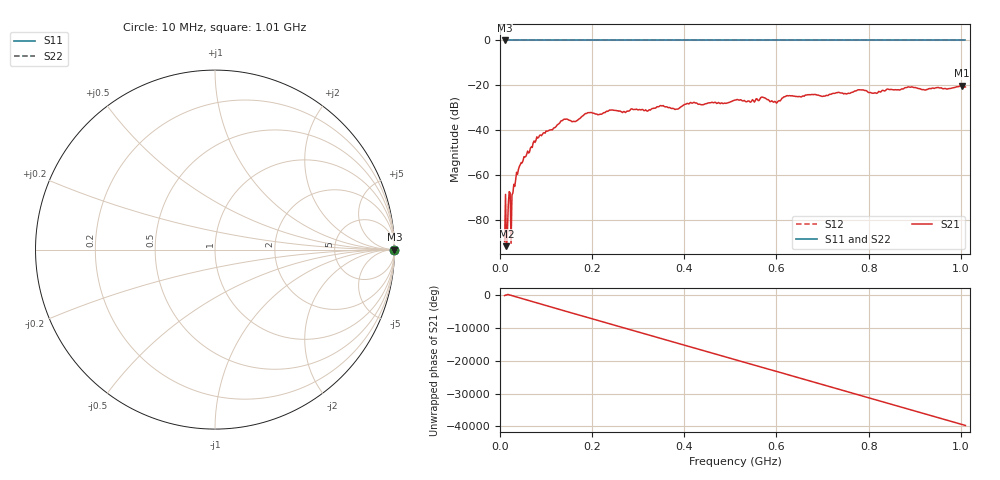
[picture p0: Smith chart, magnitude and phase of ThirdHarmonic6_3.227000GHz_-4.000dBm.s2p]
! 8/17/2025 9:52:03 AM
! C:\ANRITSUVNA\TEMP\TEMP.S2P
! CHANNEL.1
! TR.MEASUREMENT
! RAW.DATA
! RF.CORRECTION.OFF
! AVERAGING.OFF
! IF.BANDWIDTH: 5KHZ
! SWEEPTYPE:  FREQ.SWEEP(Linear)
! Reference Plane Port Info
! PORT:  PORT1  PORT2
! DISTANCE:  0  m  0  m
! TIME:  0  s  0  s
! PHASE.OFFSET:  0  deg.  0  deg.
! LOSS:  0  dB  0  dB
! REF.LOSS:  0  dB  0  dB
! REF.FREQ:  0  Hz  0  Hz
! Power Info
! POWER:  -20  dBm  -20  dBm
! EFF.POWER:  -20  dBm  -20  dBm
! SOURCE.ATTEN:  0  dB  0  dB
! TEST.ATTEN:  0  dB  0  dB
# GHZ S RI R 50.0
! FREQ.GHZ  S11RE  S11IM  S21RE  S21IM  S12RE  S12IM  S22RE  S22IM
!; PortSelection: Port_12
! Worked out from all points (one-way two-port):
!   501 points, 10 MHz to 1.01 GHz, reference 50 ohm
!   highest |S21| = -20.15 dB at 1.002 GHz (marker M1); lowest = -91.8 dB at 14 MHz (marker M2)
!   lowest |S11| = 0.0 dB at 10 MHz (marker M3)
!   |S11| at or under -10 dB: nowhere
!   |S22| runs from 0.0 to 0.0 dB; largest |S21 - S12| = 1.1
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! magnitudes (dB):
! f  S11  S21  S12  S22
! 10 MHz  0.0  -89.7  0.0  0.0
! 14 MHz  0.0  -91.8  0.0  0.0
! 16 MHz  0.0  -85.8  0.0  0.0
! 20 MHz  0.0  -67.5  0.0  0.0
! 28 MHz  0.0  -68.0  0.0  0.0
! 32 MHz  0.0  -65.2  0.0  0.0
! 40 MHz  0.0  -57.6  0.0  0.0
! 76 MHz  0.0  -45.5  0.0  0.0
! 136 MHz  0.0  -35.7  0.0  0.0
! 162 MHz  0.0  -36.2  0.0  0.0
! 178 MHz  0.0  -33.9  0.0  0.0
! 344 MHz  0.0  -29.6  0.0  0.0
! 384 MHz  0.0  -30.6  0.0  0.0
! 416 MHz  0.0  -28.0  0.0  0.0
! 510 MHz  0.0  -26.6  0.0  0.0
! 570 MHz  0.0  -25.3  0.0  0.0
! 598 MHz  0.0  -27.4  0.0  0.0
! 624 MHz  0.0  -24.6  0.0  0.0
! 678 MHz  0.0  -24.1  0.0  0.0
! 844 MHz  0.0  -21.9  0.0  0.0
! 1.002 GHz  0.0  -20.2  0.0  0.0
! 1.01 GHz  0.0  -20.8  0.0  0.0
